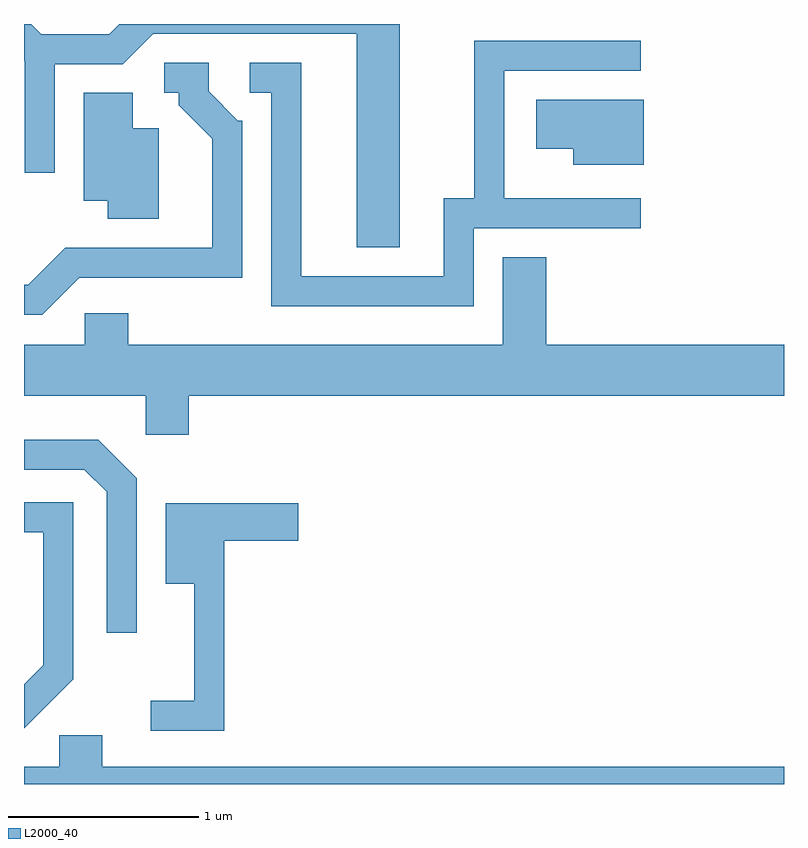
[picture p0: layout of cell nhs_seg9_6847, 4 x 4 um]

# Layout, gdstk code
import gdstk
lib = gdstk.Library(unit=1e-6, precision=1e-09)
def P(c, l, *ps):  # polygons
    for p in ps: c.add(gdstk.Polygon(p, *l))
L2000_40 = (2000, 40)

nhs_seg9_6847 = lib.new_cell('nhs_seg9_6847')
P(nhs_seg9_6847, L2000_40, [(389.589,2000.432),(388.112,2000.432),(388.059,2000.379),(387.702,2000.379),(387.649,2000.432),(387.611,2000.432),(387.611,2000.239),(387.616,2000.234),(387.616,1999.648),(387.774,1999.648),(387.774,2000.221),(388.132,2000.221),(388.292,2000.381),(389.361,2000.381),(389.361,1999.256),(389.589,1999.256)],
  [(389.979,1999.356),(390.858,1999.356),(390.858,1999.514),(390.139,1999.514),(390.139,2000.186),(390.858,2000.186),(390.858,2000.344),(389.981,2000.344),(389.981,1999.514),(389.821,1999.514),(389.821,1999.104),(389.069,1999.104),(389.069,2000.229),(388.798,2000.229),(388.798,2000.071),(388.911,2000.071),(388.911,1998.946),(389.979,1998.946)],
  [(387.902,1999.096),(388.759,1999.096),(388.759,1999.924),(388.737,1999.924),(388.584,2000.077),(388.584,2000.229),(388.348,2000.229),(388.348,2000.071),(388.426,2000.071),(388.426,2000.004),(388.601,1999.829),(388.601,1999.254),(387.829,1999.254),(387.634,1999.059),(387.611,1999.059),(387.611,1998.901),(387.707,1998.901)],
  [(388.319,1999.884),(388.184,1999.884),(388.184,2000.069),(387.926,2000.069),(387.926,1999.501),(388.051,1999.501),(388.051,1999.406),(388.319,1999.406)],
  [(390.874,2000.034),(390.306,2000.034),(390.306,1999.776),(390.501,1999.776),(390.501,1999.691),(390.874,1999.691)],
  [(388.479,1998.476),(391.611,1998.476),(391.611,1998.744),(390.359,1998.744),(390.359,1999.204),(390.131,1999.204),(390.131,1998.744),(388.159,1998.744),(388.159,1998.909),(387.931,1998.909),(387.931,1998.744),(387.611,1998.744),(387.611,1998.476),(388.251,1998.476),(388.251,1998.271),(388.479,1998.271)],
  [(388.204,1998.042),(388.002,1998.244),(387.611,1998.244),(387.611,1998.086),(387.929,1998.086),(388.046,1997.969),(388.046,1997.228),(388.204,1997.228)],
  [(387.869,1996.984),(387.869,1997.914),(387.611,1997.914),(387.611,1997.756),(387.711,1997.756),(387.711,1997.057),(387.611,1996.957),(387.611,1996.725)],
  [(388.664,1997.711),(389.054,1997.711),(389.054,1997.909),(388.356,1997.909),(388.356,1997.486),(388.506,1997.486),(388.506,1996.869),(388.278,1996.869),(388.278,1996.711),(388.664,1996.711)],
  [(388.024,1996.689),(387.796,1996.689),(387.796,1996.524),(387.611,1996.524),(387.611,1996.432),(391.611,1996.432),(391.611,1996.524),(388.024,1996.524)])

lib.write_gds('nhs_seg9_6847.gds')
